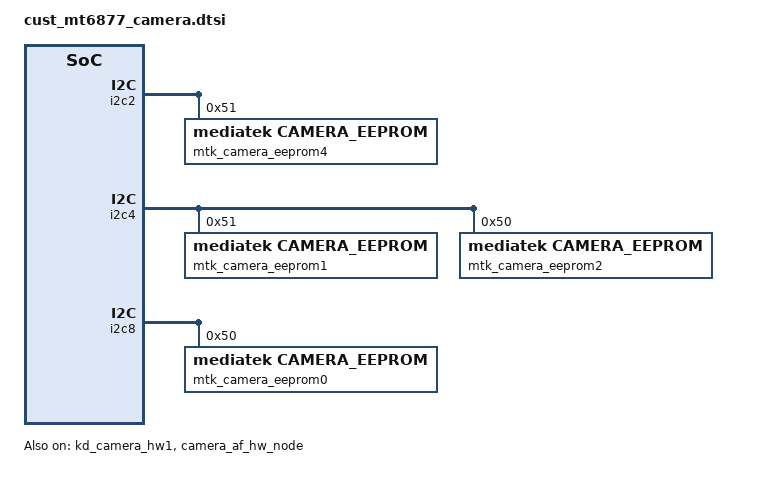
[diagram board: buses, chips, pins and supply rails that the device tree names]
// SPDX-License-Identifier: GPL-2.0
/*
 * Copyright (c) 2021 MediaTek Inc.
 */

/* CAMERA GPIO standardization */
&pio {
	camera_pins_cam0_rst_0: cam0@0 {
		pins_cmd_dat {
			pinmux = <PINMUX_GPIO157__FUNC_GPIO157>;
			slew-rate = <1>;
			output-low;
		};
	};
	camera_pins_cam0_rst_1: cam0@1 {
		pins_cmd_dat {
			pinmux = <PINMUX_GPIO157__FUNC_GPIO157>;
			slew-rate = <1>;
			output-high;
		};
	};

	camera_pins_cam1_rst_0: cam1@0 {
		pins_cmd_dat {
			pinmux = <PINMUX_GPIO155__FUNC_GPIO155>;
			slew-rate = <1>;
			output-low;
		};
	};
	camera_pins_cam1_rst_1: cam1@1 {
		pins_cmd_dat {
			pinmux = <PINMUX_GPIO155__FUNC_GPIO155>;
			slew-rate = <1>;
			output-high;
		};
	};

	camera_pins_cam2_rst_0: cam2@0 {
		pins_cmd_dat {
			pinmux = <PINMUX_GPIO159__FUNC_GPIO159>;
			slew-rate = <1>;
			output-low;
		};
	};
	camera_pins_cam2_rst_1: cam2@1 {
		pins_cmd_dat {
			pinmux = <PINMUX_GPIO159__FUNC_GPIO159>;
			slew-rate = <1>;
			output-high;
		};
	};
	/*
	camera_pins_cam4_rst_0: cam4@0 {
		pins_cmd_dat {
			pinmux = <PINMUX_GPIO161__FUNC_GPIO161>;
			slew-rate = <1>;
			output-low;
		};
	};
	camera_pins_cam4_rst_1: cam4@1 {
		pins_cmd_dat {
			pinmux = <PINMUX_GPIO161__FUNC_GPIO161>;
			slew-rate = <1>;
			output-high;
		};
	};

	camera_pins_cam0_vcamd_0: cam0@vcam0 {
		pins_cmd_dat {
			pinmux = <PINMUX_GPIO113__FUNC_GPIO113>;
			slew-rate = <1>;
			output-low;
		};
	};
	camera_pins_cam0_vcamd_1: cam0@vcam1 {
		pins_cmd_dat {
			pinmux = <PINMUX_GPIO113__FUNC_GPIO113>;
			slew-rate = <1>;
			output-high;
		};
	};
	camera_pins_cam0_vcama_0: cam0@vcam2 {
		pins_cmd_dat {
			pinmux = <PINMUX_GPIO195__FUNC_GPIO195>;
			slew-rate = <1>;
			output-low;
		};
	};
	camera_pins_cam0_vcama_1: cam0@vcam3 {
		pins_cmd_dat {
			pinmux = <PINMUX_GPIO195__FUNC_GPIO195>;
			slew-rate = <1>;
			output-high;
		};
	};

	camera_pins_cam1_vcamd_0: cam1@vcam0 {
		pins_cmd_dat {
			pinmux = <PINMUX_GPIO160__FUNC_GPIO160>;
			slew-rate = <1>;
			output-low;
		};
	};
	camera_pins_cam1_vcamd_1: cam1@vcam1 {
		pins_cmd_dat {
			pinmux = <PINMUX_GPIO160__FUNC_GPIO160>;
			slew-rate = <1>;
			output-high;
		};
	};
	camera_pins_cam1_vcama_0: cam1@vcam2 {
		pins_cmd_dat {
			pinmux = <PINMUX_GPIO9__FUNC_GPIO9>;
			slew-rate = <1>;
			output-low;
		};
	};
	camera_pins_cam1_vcama_1: cam1@vcam3 {
		pins_cmd_dat {
			pinmux = <PINMUX_GPIO9__FUNC_GPIO9>;
			slew-rate = <1>;
			output-high;
		};
	};
	*/
	camera_pins_cam2_vcamd_0: cam2@vcam0 {
		pins_cmd_dat {
			pinmux = <PINMUX_GPIO190__FUNC_GPIO190>;
			slew-rate = <1>;
			output-low;
		};
	};
	camera_pins_cam2_vcamd_1: cam2@vcam1 {
		pins_cmd_dat {
			pinmux = <PINMUX_GPIO190__FUNC_GPIO190>;
			slew-rate = <1>;
			output-high;
		};
	};
	/*
	camera_pins_cam2_vcama_0: cam2@vcam2 {
		pins_cmd_dat {
			pinmux = <PINMUX_GPIO9__FUNC_GPIO9>;
			slew-rate = <1>;
			output-low;
		};
	};
	camera_pins_cam2_vcama_1: cam2@vcam3 {
		pins_cmd_dat {
			pinmux = <PINMUX_GPIO9__FUNC_GPIO9>;
			slew-rate = <1>;
			output-high;
		};
	};
	camera_pins_cam4_vcamd_0: cam4@vcam0 {
		pins_cmd_dat {
			pinmux = <PINMUX_GPIO190__FUNC_GPIO190>;
			slew-rate = <1>;
			output-low;
		};
	};
	camera_pins_cam4_vcamd_1: cam4@vcam1 {
		pins_cmd_dat {
			pinmux = <PINMUX_GPIO190__FUNC_GPIO190>;
			slew-rate = <1>;
			output-high;
		};
	};
	camera_pins_cam4_vcama_0: cam4@vcam2 {
		pins_cmd_dat {
			pinmux = <PINMUX_GPIO114__FUNC_GPIO114>;
			slew-rate = <1>;
			output-low;
		};
	};
	camera_pins_cam4_vcama_1: cam4@vcam3 {
		pins_cmd_dat {
			pinmux = <PINMUX_GPIO114__FUNC_GPIO114>;
			slew-rate = <1>;
			output-high;
		};
	};
	*/
	camera_pins_cam0_mclk_off: camera_pins_cam0_mclk_off {
		pins_cmd_dat {
			pinmux = <PINMUX_GPIO150__FUNC_GPIO150>;
			drive-strength = <1>;
		};
	};
	camera_pins_cam0_mclk_2ma: camera_pins_cam0_mclk_2ma {
		pins_cmd_dat {
			pinmux = <PINMUX_GPIO150__FUNC_CMMCLK1>;
			drive-strength = <0>;
		};
	};
	camera_pins_cam0_mclk_4ma: camera_pins_cam0_mclk_4ma {
		pins_cmd_dat {
			pinmux = <PINMUX_GPIO150__FUNC_CMMCLK1>;
			drive-strength = <1>;
		};
	};
	camera_pins_cam0_mclk_6ma: camera_pins_cam0_mclk_6ma {
		pins_cmd_dat {
			pinmux = <PINMUX_GPIO150__FUNC_CMMCLK1>;
			drive-strength = <2>;
		};
	};
	camera_pins_cam0_mclk_8ma: camera_pins_cam0_mclk_8ma {
		pins_cmd_dat {
			pinmux = <PINMUX_GPIO150__FUNC_CMMCLK1>;
			drive-strength = <3>;
		};
	};
	camera_pins_cam1_mclk_off: camera_pins_cam1_mclk_off {
		pins_cmd_dat {
			pinmux = <PINMUX_GPIO149__FUNC_GPIO149>;
			drive-strength = <1>;
		};
	};
	camera_pins_cam1_mclk_2ma: camera_pins_cam1_mclk_2ma {
		pins_cmd_dat {
			pinmux = <PINMUX_GPIO149__FUNC_CMMCLK0>;
			drive-strength = <0>;
		};
	};
	camera_pins_cam1_mclk_4ma: camera_pins_cam1_mclk_4ma {
		pins_cmd_dat {
			pinmux = <PINMUX_GPIO149__FUNC_CMMCLK0>;
			drive-strength = <1>;
		};
	};
	camera_pins_cam1_mclk_6ma: camera_pins_cam1_mclk_6ma {
		pins_cmd_dat {
			pinmux = <PINMUX_GPIO149__FUNC_CMMCLK0>;
			drive-strength = <2>;
		};
	};
	camera_pins_cam1_mclk_8ma: camera_pins_cam1_mclk_8ma {
		pins_cmd_dat {
			pinmux = <PINMUX_GPIO149__FUNC_CMMCLK0>;
			drive-strength = <3>;
		};
	};
	camera_pins_cam2_mclk_off: camera_pins_cam2_mclk_off {
		pins_cmd_dat {
			pinmux = <PINMUX_GPIO151__FUNC_GPIO151>;
			drive-strength = <1>;
		};
	};
	camera_pins_cam2_mclk_2ma: camera_pins_cam2_mclk_2ma {
		pins_cmd_dat {
			pinmux = <PINMUX_GPIO151__FUNC_CMMCLK2>;
			drive-strength = <0>;
		};
	};
	camera_pins_cam2_mclk_4ma: camera_pins_cam2_mclk_4ma {
		pins_cmd_dat {
			pinmux = <PINMUX_GPIO151__FUNC_CMMCLK2>;
			drive-strength = <1>;
		};
	};
	camera_pins_cam2_mclk_6ma: camera_pins_cam2_mclk_6ma {
		pins_cmd_dat {
			pinmux = <PINMUX_GPIO151__FUNC_CMMCLK2>;
			drive-strength = <2>;
		};
	};
	camera_pins_cam2_mclk_8ma: camera_pins_cam2_mclk_8ma {
		pins_cmd_dat {
			pinmux = <PINMUX_GPIO151__FUNC_CMMCLK2>;
			drive-strength = <3>;
		};
	};
	/*
	camera_pins_cam4_mclk_off: camera_pins_cam4_mclk_off {
		pins_cmd_dat {
			pinmux = <PINMUX_GPIO152__FUNC_GPIO152>;
			drive-strength = <1>;
		};
	};
	camera_pins_cam4_mclk_2ma: camera_pins_cam4_mclk_2ma {
		pins_cmd_dat {
			pinmux = <PINMUX_GPIO152__FUNC_CMMCLK3>;
			drive-strength = <0>;
		};
	};
	camera_pins_cam4_mclk_4ma: camera_pins_cam4_mclk_4ma {
		pins_cmd_dat {
			pinmux = <PINMUX_GPIO152__FUNC_CMMCLK3>;
			drive-strength = <1>;
		};
	};
	camera_pins_cam4_mclk_6ma: camera_pins_cam4_mclk_6ma {
		pins_cmd_dat {
			pinmux = <PINMUX_GPIO152__FUNC_CMMCLK3>;
			drive-strength = <2>;
		};
	};
	camera_pins_cam4_mclk_8ma: camera_pins_cam4_mclk_8ma {
		pins_cmd_dat {
			pinmux = <PINMUX_GPIO152__FUNC_CMMCLK3>;
			drive-strength = <3>;
		};
	};
	*/

	camera_pins_cam1_pnd_0: cam1@2 {
		pins_cmd_dat {
			pinmux = <PINMUX_GPIO154__FUNC_GPIO154>;
			slew-rate = <1>;
			output-low;
		};
	};
	camera_pins_cam1_pnd_1: cam1@3 {
		pins_cmd_dat {
			pinmux = <PINMUX_GPIO154__FUNC_GPIO154>;
			slew-rate = <1>;
			output-high;
		};
	};

	camera_pins_cam2_pnd_0: cam2@2 {
		pins_cmd_dat {
			pinmux = <PINMUX_GPIO158__FUNC_GPIO158>;
			slew-rate = <1>;
			output-low;
		};
	};
	camera_pins_cam2_pnd_1: cam2@3 {
		pins_cmd_dat {
			pinmux = <PINMUX_GPIO158__FUNC_GPIO158>;
			slew-rate = <1>;
			output-high;
		};
	};
	
	camera_pins_cam0_oisvdd_0: cam0@4 {
		pins_cmd_dat {
			pinmux = <PINMUX_GPIO17__FUNC_GPIO17>;
			slew-rate = <1>;
			output-low;
		};
	};
	camera_pins_cam0_oisvdd_1: cam0@5 {
		pins_cmd_dat {
			pinmux = <PINMUX_GPIO17__FUNC_GPIO17>;
			slew-rate = <1>;
			output-high;
		};
	};

	camera_pins_default: camdefault {
	};
};
&kd_camera_hw1 {
	pinctrl-names = "default",
			"cam0_rst0", "cam0_rst1",
			"cam1_rst0", "cam1_rst1",
			"cam2_rst0", "cam2_rst1",
			/*
			"cam4_rst0", "cam4_rst1",
			"cam0_ldo_vcamd_0", "cam0_ldo_vcamd_1",
			"cam0_ldo_vcama_0", "cam0_ldo_vcama_1",
			"cam1_ldo_vcamd_0", "cam1_ldo_vcamd_1",
			"cam1_ldo_vcama_0", "cam1_ldo_vcama_1",
			"cam2_ldo_vcamd_0", "cam2_ldo_vcamd_1",
			"cam2_ldo_vcama_0", "cam2_ldo_vcama_1",
			"cam4_ldo_vcamd_0", "cam4_ldo_vcamd_1",
			"cam4_ldo_vcama_0", "cam4_ldo_vcama_1",
			*/
			"cam0_mclk_off",
			"cam0_mclk_2mA", "cam0_mclk_4mA",
			"cam0_mclk_6mA", "cam0_mclk_8mA",
			"cam1_mclk_off",
			"cam1_mclk_2mA", "cam1_mclk_4mA",
			"cam1_mclk_6mA", "cam1_mclk_8mA",
			"cam2_mclk_off",
			"cam2_mclk_2mA", "cam2_mclk_4mA",
			"cam2_mclk_6mA", "cam2_mclk_8mA",
			/*
			"cam4_mclk_off",
			"cam4_mclk_2mA", "cam4_mclk_4mA",
			"cam4_mclk_6mA", "cam4_mclk_8mA";
			*/
			"cam1_pnd0", "cam1_pnd1",
			"cam2_pnd0", "cam2_pnd1",
			"cam2_ldo_vcamd_0", "cam2_ldo_vcamd_1",
			"cam0_ldo_oisvdd_0","cam0_ldo_oisvdd_1";
	pinctrl-0 = <&camera_pins_default>;
	pinctrl-1 = <&camera_pins_cam0_rst_0>;
	pinctrl-2 = <&camera_pins_cam0_rst_1>;
	pinctrl-3 = <&camera_pins_cam1_rst_0>;
	pinctrl-4 = <&camera_pins_cam1_rst_1>;
	pinctrl-5 = <&camera_pins_cam2_rst_0>;
	pinctrl-6 = <&camera_pins_cam2_rst_1>;
	/*
	pinctrl-7 = <&camera_pins_cam4_rst_0>;
	pinctrl-8 = <&camera_pins_cam4_rst_1>;
	pinctrl-9 = <&camera_pins_cam0_vcamd_0>;
	pinctrl-10 = <&camera_pins_cam0_vcamd_1>;
	pinctrl-11 = <&camera_pins_cam0_vcama_0>;
	pinctrl-12 = <&camera_pins_cam0_vcama_1>;
	pinctrl-13 = <&camera_pins_cam1_vcamd_0>;
	pinctrl-14 = <&camera_pins_cam1_vcamd_1>;
	pinctrl-15 = <&camera_pins_cam1_vcama_0>;
	pinctrl-16 = <&camera_pins_cam1_vcama_1>;
	pinctrl-17 = <&camera_pins_cam2_vcamd_0>;
	pinctrl-18 = <&camera_pins_cam2_vcamd_1>;
	pinctrl-19 = <&camera_pins_cam2_vcama_0>;
	pinctrl-20 = <&camera_pins_cam2_vcama_1>;
	pinctrl-21 = <&camera_pins_cam4_vcamd_0>;
	pinctrl-22 = <&camera_pins_cam4_vcamd_1>;
	pinctrl-23 = <&camera_pins_cam4_vcama_0>;
	pinctrl-24 = <&camera_pins_cam4_vcama_1>;
	*/
	pinctrl-7 = <&camera_pins_cam0_mclk_off>;
	pinctrl-8 = <&camera_pins_cam0_mclk_2ma>;
	pinctrl-9 = <&camera_pins_cam0_mclk_4ma>;
	pinctrl-10 = <&camera_pins_cam0_mclk_6ma>;
	pinctrl-11 = <&camera_pins_cam0_mclk_8ma>;
	pinctrl-12 = <&camera_pins_cam1_mclk_off>;
	pinctrl-13 = <&camera_pins_cam1_mclk_2ma>;
	pinctrl-14 = <&camera_pins_cam1_mclk_4ma>;
	pinctrl-15 = <&camera_pins_cam1_mclk_6ma>;
	pinctrl-16 = <&camera_pins_cam1_mclk_8ma>;
	pinctrl-17 = <&camera_pins_cam2_mclk_off>;
	pinctrl-18 = <&camera_pins_cam2_mclk_2ma>;
	pinctrl-19 = <&camera_pins_cam2_mclk_4ma>;
	pinctrl-20 = <&camera_pins_cam2_mclk_6ma>;
	pinctrl-21 = <&camera_pins_cam2_mclk_8ma>;
	/*
	pinctrl-40 = <&camera_pins_cam4_mclk_off>;
	pinctrl-41 = <&camera_pins_cam4_mclk_2ma>;
	pinctrl-42 = <&camera_pins_cam4_mclk_4ma>;
	pinctrl-43 = <&camera_pins_cam4_mclk_6ma>;
	pinctrl-44 = <&camera_pins_cam4_mclk_8ma>;
	*/
	
	pinctrl-22 = <&camera_pins_cam1_pnd_0>;
	pinctrl-23 = <&camera_pins_cam1_pnd_1>;
	pinctrl-24 = <&camera_pins_cam2_pnd_0>;
	pinctrl-25 = <&camera_pins_cam2_pnd_1>;
	pinctrl-26 = <&camera_pins_cam2_vcamd_0>;
	pinctrl-27 = <&camera_pins_cam2_vcamd_1>;

	pinctrl-28 = <&camera_pins_cam0_oisvdd_0>;
	pinctrl-29 = <&camera_pins_cam0_oisvdd_1>;

/*
	cam0_vcama-supply = <&rt5133_ldo4>;
	cam0_vcama1-supply = <&rt5133_ldo5>;
	cam0_vcamd-supply = <&rt5133_ldo8>;
	cam0_vcamio-supply = <&rt5133_ldo1>;
	cam0_vcamaf-supply = <&rt5133_ldo3>;


	cam1_vcama-supply = <&rt5133_ldo6>;
	cam1_vcamd-supply = <&rt5133_ldo7>;
	cam1_vcamio-supply = <&rt5133_ldo1>;


	cam2_vcama-supply = <&rt5133_ldo6>;
	cam2_vcamd-supply = <&rt5133_ldo7>;
	cam2_vcamio-supply = <&rt5133_ldo1>;


	cam4_vcama-supply = <&rt5133_gpio2>;
	cam4_vcamd-supply = <&rt5133_gpio3>;
	cam4_vcamio-supply = <&rt5133_ldo1>;
*/
	cam0_enable_sensor = "ov50a40_mipi_raw";
	cam1_enable_sensor = "ov16a1q_mipi_raw";
	cam2_enable_sensor = "bf2253Lmacro_mipi_raw s5k4h7yxnight_mipi_raw";

	status = "okay";
};
/* CAMERA GPIO end */

/* CAMERA EEPROM */
&i2c2 {
	mtk_camera_eeprom4:camera_eeprom4@51 {
		compatible = "mediatek,camera_eeprom";
		reg = <0x51>;
		status = "okay";
	};
};
&i2c4 {
	mtk_camera_eeprom1:camera_eeprom1@51 {
		compatible = "mediatek,camera_eeprom";
		reg = <0x51>;
		status = "okay";
	};
	mtk_camera_eeprom2:camera_eeprom2@50 {
		compatible = "mediatek,camera_eeprom";
		reg = <0x50>;
		status = "okay";
	};
};
&i2c8 {
	mtk_camera_eeprom0:camera_eeprom0@50 {
		compatible = "mediatek,camera_eeprom";
		reg = <0x50>;
		status = "okay";
	};
};
/* CAMERA EEPROM end */

/* CAMERA AF */
&camera_af_hw_node {
	/*
	camaf_m1_pmic-supply = <&rt5133_ldo3>;
	camaf_m2_pmic-supply = <&rt5133_ldo2>;
	camaf_m3_pmic-supply = <&rt5133_gpio1>;
	*/
	status = "okay";
};
/* CAMERA AF end */
